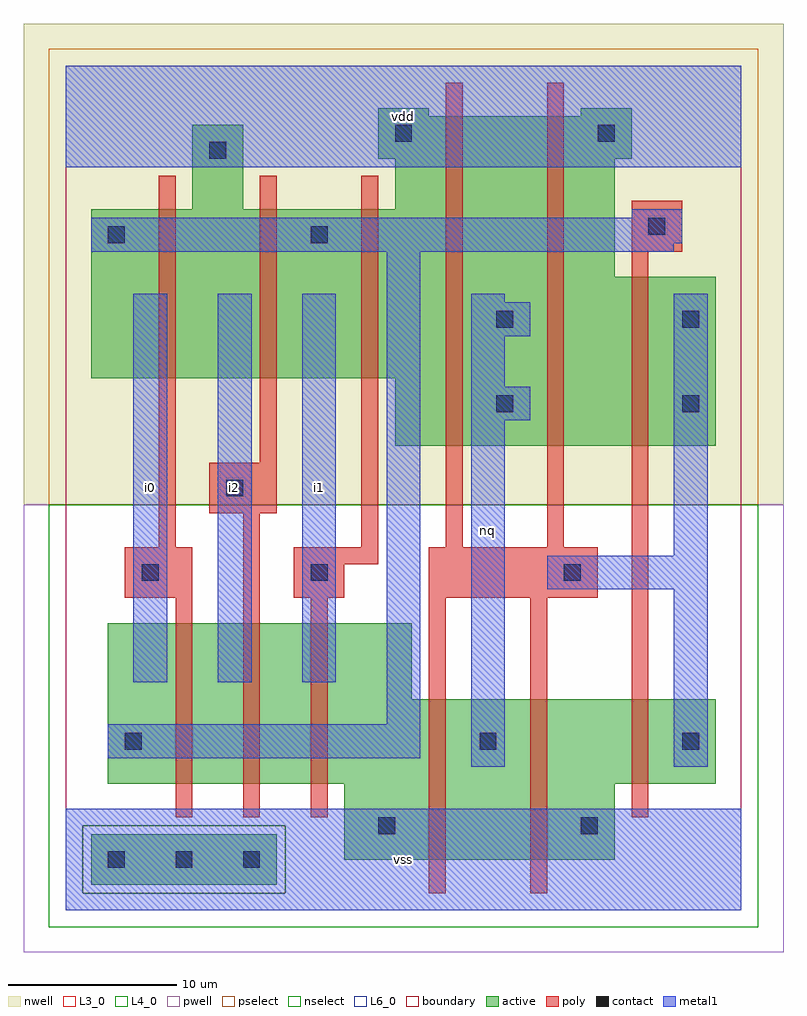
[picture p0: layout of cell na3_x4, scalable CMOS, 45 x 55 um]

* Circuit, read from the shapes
.subckt na3_x4 i0 i1 i2 nq vdd vss
M1 n1 i0 n2 vss nfet w=9.5u l=1u
M2 n3 i2 n1 vss nfet w=9.5u l=1u
M3 vss i1 n3 vss nfet w=9.5u l=1u
M4 nq n4 vss vss nfet w=9.5u l=1u m=2
M5 n4 n2 vss vss nfet w=5u l=1u
M6 vdd i0 n2 n5 pfet w=10u l=1u
M7 n2 i2 vdd n5 pfet w=10u l=1u
M8 vdd i1 n2 n5 pfet w=10u l=1u
M9 nq n4 vdd n5 pfet w=19.5u l=1u m=2
M10 n4 n2 vdd n5 pfet w=10u l=1u
.ends

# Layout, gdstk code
import gdstk
lib = gdstk.Library(unit=1e-6, precision=1e-09)
def R(c, l, rs):  # rectangles x0, y0, x1, y1
    for r in rs: c.add(gdstk.rectangle(r[:2], r[2:], *l))
def A(c, l, x, y, w, h, nx, ny, dx, dy):  # array of equal rectangles
    R(c, l, [(x+i*dx, y+j*dy, x+i*dx+w, y+j*dy+h) for i in range(nx) for j in range(ny)])
L3_0 = (3, 0)
L4_0 = (4, 0)
L6_0 = (6, 0)
contact = (25, 0)
pwell = (41, 0)
nwell = (42, 0)
active = (43, 0)
pselect = (44, 0)
nselect = (45, 0)
poly = (46, 0)
metal1 = (49, 0)
boundary = (63, 0)

na3_x4 = lib.new_cell('na3_x4')
R(na3_x4, L3_0, [(16.5,3,32.5,7.5), (2.5,7.5,38.5,12.5), (2.5,12.5,20.5,17)])
R(na3_x4, L4_0, [(19.5,27.5,38.5,31.5), (1.5,31.5,38.5,37.5), (1.5,37.5,32.5,41.5), (7.5,41.5,10.5,46.5), (19.5,41.5,32.5,44.5), (18.5,44.5,33.5,47), (18.5,47,21.5,47.5), (30.5,47,33.5,47.5)])
R(na3_x4, L6_0, [(1.5,1.5,12.5,4.5)])
A(na3_x4, contact, 2.5, 2.5, 1, 1, 3, 1, 4, 0)
R(na3_x4, contact, [(18.5,4.5,19.5,5.5), (30.5,4.5,31.5,5.5), (3.5,9.5,4.5,10.5), (24.5,9.5,25.5,10.5), (36.5,9.5,37.5,10.5), (4.5,19.5,5.5,20.5), (14.5,19.5,15.5,20.5), (29.5,19.5,30.5,20.5), (9.5,24.5,10.5,25.5), (25.5,29.5,26.5,30.5), (36.5,29.5,37.5,30.5), (25.5,34.5,26.5,35.5), (36.5,34.5,37.5,35.5), (2.5,39.5,3.5,40.5), (14.5,39.5,15.5,40.5), (34.5,40,35.5,41), (8.5,44.5,9.5,45.5), (19.5,45.5,20.5,46.5), (31.5,45.5,32.5,46.5)])
R(na3_x4, pwell, [(-2.5,-2.5,42.5,24)])
R(na3_x4, nwell, [(-2.5,24,42.5,52.5)])
R(na3_x4, active, [(1.5,1.5,12.5,4.5), (16.5,3,32.5,7.5), (2.5,7.5,38.5,12.5), (2.5,12.5,20.5,17), (19.5,27.5,38.5,31.5), (1.5,31.5,38.5,37.5), (1.5,37.5,32.5,41.5), (7.5,41.5,10.5,46.5), (19.5,41.5,32.5,44.5), (18.5,44.5,33.5,47), (18.5,47,21.5,47.5), (30.5,47,33.5,47.5)])
R(na3_x4, pselect, [(1,1,13,5), (-1,24,41,51)])
R(na3_x4, nselect, [(-1,-1,41,1), (-1,1,1,5), (13,1,41,5), (-1,5,41,24)])
R(na3_x4, poly, [(21.5,1,22.5,18.5), (27.5,1,28.5,18.5), (6.5,5.5,7.5,18.5), (10.5,5.5,11.5,23.5), (14.5,5.5,15.5,18.5), (33.5,5.5,34.5,39), (3.5,18.5,7.5,21.5), (13.5,18.5,16.5,20.5), (21.5,18.5,31.5,21.5), (13.5,20.5,18.5,21.5), (5.5,21.5,6.5,43.5), (17.5,21.5,18.5,43.5), (22.5,21.5,23.5,49), (28.5,21.5,29.5,49), (8.5,23.5,12.5,26.5), (11.5,26.5,12.5,43.5), (33.5,39,36.5,42)])
R(na3_x4, metal1, [(0,0,40,6), (0,0,40,6), (24,8.5,26,29), (24,8.5,26,29), (36,8.5,38,19), (36,8.5,38,19), (2.5,9,21,11), (2.5,9,21,11), (19,11,21,39), (19,11,21,39), (4,13.5,6,36.5), (4,13.5,6,36.5), (9,13.5,11,36.5), (9,13.5,11,36.5), (14,13.5,16,36.5), (14,13.5,16,36.5), (28.5,19,38,21), (28.5,19,38,21), (36,21,38,36.5), (36,21,38,36.5), (24,29,27.5,31), (24,29,27.5,31), (24,31,26,34), (24,31,26,34), (24,34,27.5,36), (24,34,27.5,36), (24,36,26,36.5), (24,36,26,36.5), (1.5,39,36,39.5), (1.5,39,36,39.5), (1.5,39.5,36.5,41), (1.5,39.5,36.5,41), (33.5,41,36.5,41.5), (33.5,41,36.5,41.5), (0,44,40,50), (0,44,40,50)])
R(na3_x4, boundary, [(0,0,40,50)])
na3_x4.add(gdstk.Label('i0', (5,25), layer=49, texttype=0))
na3_x4.add(gdstk.Label('i1', (15,25), layer=49, texttype=0))
na3_x4.add(gdstk.Label('i2', (10,25), layer=49, texttype=0))
na3_x4.add(gdstk.Label('vss', (20,3), layer=49, texttype=0))
na3_x4.add(gdstk.Label('nq', (25,22.5), layer=49, texttype=0))
na3_x4.add(gdstk.Label('vdd', (20,47), layer=49, texttype=0))

lib.write_gds('na3_x4.gds')
